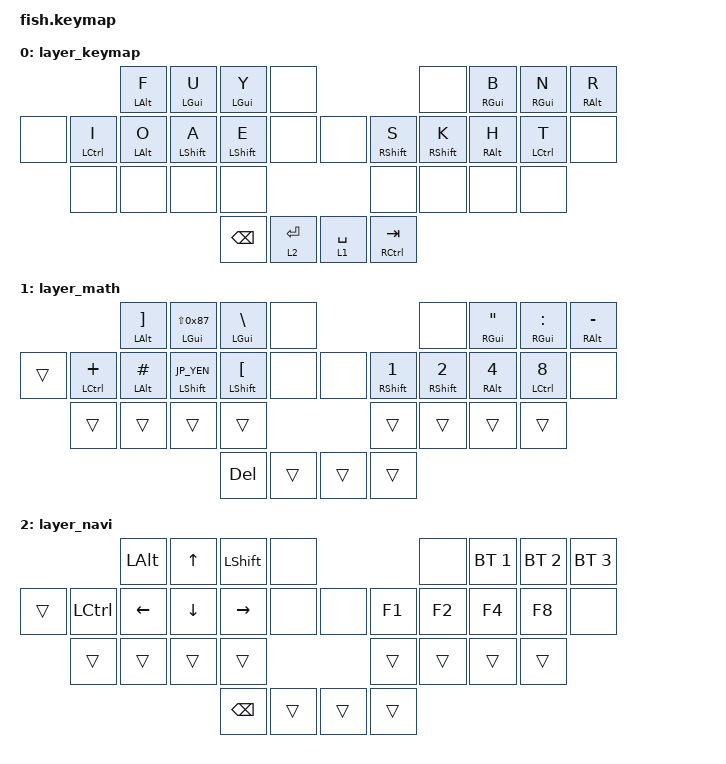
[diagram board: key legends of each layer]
// キーマップを更新する方法は https://o24.works/fish/guide を参照
// 視覚的に編集するには https://o24.works/fish/editor を参照


// 定義を呼んでくる
#include <behaviors.dtsi>
#include <dt-bindings/zmk/keys.h>
#include <dt-bindings/zmk/mouse.h>
#include <dt-bindings/zmk/bt.h>
#include <dt-bindings/zmk/outputs.h>
#include <dt-bindings/zmk/pointing.h>

// US とJISの違いを定義しておく
#define JP_DQUOTE       AT                // "
#define JP_AMPERSAND    CARET             // &
#define JP_QUOTE        AMPERSAND         // '
#define JP_EQUAL        UNDER             // =
#define JP_CARET        EQUAL             // ^
#define JP_YEN          0x89              // ¥
#define JP_PLUS         COLON             // +
#define JP_TILDE        PLUS              // ~
#define JP_PIPE         LS(0x89)          // |
#define JP_AT           LEFT_BRACKET      // @
#define JP_COLON        SINGLE_QUOTE      // :
#define JP_ASTERISK     DOUBLE_QUOTES     // *
#define JP_BACKQUOTE    LEFT_BRACE        // `
#define JP_UNDERSCORE   LS(0x87)          // _
#define JP_LBRACKET     RIGHT_BRACKET     // [
#define JP_RBRACKET     BACKSLASH         // ]
#define JP_LPAREN       ASTERISK          // (
#define JP_RPAREN       LEFT_PARENTHESIS  // )
#define JP_LBRACE       RIGHT_BRACE       // {
#define JP_RBRACE       PIPE              // }
#define JP_KANA         LANGUAGE_1        // かな
#define JP_EISU         LANGUAGE_2        // 英数
#define JP_HANZEN       GRAVE             // 半角/全角
// 特殊入力の挙動を調整できる

&mt {
    flavor = "tap-preferred";
    tapping-term-ms = <225>;
    quick-tap-ms = <200>;
    require-prior-idle-ms = <150>;
};

&lt {
    flavor = "balanced";
    tapping-term-ms = <175>;
    quick-tap-ms = <200>;
};

/ {

    // 複数キーの同時押しに特別の入力を設定できる
    // キー番号早見表：
    //       0  1  2  3     4  5  6  7
    // 8  9 10 11 12 13    14 15 16 17 18 19
    //   20 21 22 23          24 25 26 27
    //            28 29    30 31

    combos {
        compatible = "zmk,combos";
        timeout-ms = <100>;
        require-prior-idle-ms = <150>;

        combo_reset_L {
            key-positions = <3 8 13>;
            bindings = <&bootloader>;
        };

        combo_reset_R {
            key-positions = <4 14 19>;
            bindings = <&bootloader>;
        };

        combo_studio_unlock {
            key-positions = <20 21 22 23>;
            bindings = <&studio_unlock>;
        };

        combo_w {
            key-positions = <15 17>;
            bindings = <&kp W>;
            layers = <0>;
        };

        combo_z {
            key-positions = <15 16>;
            bindings = <&kp Z>;
            layers = <0>;
        };

        combo_g {
            key-positions = <16 17>;
            bindings = <&kp G>;
            layers = <0>;
        };

        combo_d {
            key-positions = <17 18>;
            bindings = <&kp D>;
            layers = <0>;
        };

        combo_lang2 {
            key-positions = <10 11 12>;
            bindings = <&kp LANG2>;
            layers = <0>;
        };

        combo_lang1 {
            key-positions = <15 16 17>;
            bindings = <&kp LANG1>;
            layers = <0>;
        };

        combo_comma {
            key-positions = <15 30>;
            bindings = <&kp COMMA>;
            layers = <0 1>;
        };

        combo_dot {
            key-positions = <16 30>;
            bindings = <&kp DOT>;
            layers = <0 1>;
        };

        combo_x {
            key-positions = <1 2>;
            bindings = <&kp X>;
            layers = <0>;
        };

        combo_q {
            key-positions = <0 2>;
            bindings = <&kp Q>;
            layers = <0>;
        };

        combo_l {
            key-positions = <5 7>;
            bindings = <&kp L>;
            layers = <0>;
        };

        combo_p {
            key-positions = <5 6>;
            bindings = <&kp P>;
            layers = <0>;
        };

        combo_m {
            key-positions = <6 7>;
            bindings = <&kp M>;
            layers = <0>;
        };

        combo_j {
            key-positions = <7 18>;
            bindings = <&kp J>;
            layers = <0>;
        };

        combo_c {
            key-positions = <10 11>;
            bindings = <&kp C>;
            layers = <0>;
        };

        combo_v {
            key-positions = <11 12>;
            bindings = <&kp V>;
            layers = <0>;
        };

        combo_minus {
            key-positions = <15 16 30>;
            bindings = <&kp MINUS>;
            layers = <0>;
        };

        combo_lbkt {
            key-positions = <2 29>;
            bindings = <&kp JP_LBRACKET>;
            layers = <0>;
        };

        combo_rbkt {
            key-positions = <5 30>;
            bindings = <&kp JP_RBRACKET>;
            layers = <0>;
        };

        combo_n3 {
            key-positions = <15 16>;
            bindings = <&kp N3>;
            layers = <1>;
        };

        combo_n5 {
            key-positions = <15 17>;
            bindings = <&kp N5>;
            layers = <1>;
        };

        combo_n6 {
            key-positions = <16 17>;
            bindings = <&kp N6>;
            layers = <1>;
        };

        combo_n7 {
            key-positions = <15 16 17>;
            bindings = <&kp N7>;
            layers = <1>;
        };

        combo_n9 {
            key-positions = <15 18>;
            bindings = <&kp N9>;
            layers = <1>;
        };

        combo_n0 {
            key-positions = <16 18>;
            bindings = <&kp N0>;
            layers = <1>;
        };

        combo_f3 {
            key-positions = <15 16>;
            bindings = <&kp F3>;
            layers = <2>;
        };

        combo_f5 {
            key-positions = <15 17>;
            bindings = <&kp F5>;
            layers = <2>;
        };

        combo_f7 {
            key-positions = <15 16 17>;
            bindings = <&kp F7>;
            layers = <2>;
        };

        combo_f6 {
            key-positions = <16 17>;
            bindings = <&kp F6>;
            layers = <2>;
        };

        combo_f9 {
            key-positions = <15 18>;
            bindings = <&kp F9>;
            layers = <2>;
        };

        combo_f10 {
            key-positions = <16 18>;
            bindings = <&kp F10>;
            layers = <2>;
        };

        combo_f11 {
            key-positions = <15 16 18>;
            bindings = <&kp F11>;
            layers = <2>;
        };

        combo_f12 {
            key-positions = <17 18>;
            bindings = <&kp F12>;
            layers = <2>;
        };

        combo_qmark {
            key-positions = <17 30>;
            bindings = <&kp QMARK>;
            layers = <0>;
        };

        combo_excl {
            key-positions = <18 30>;
            bindings = <&kp EXCL>;
            layers = <0>;
        };

        combo_caret {
            key-positions = <6 15 17>;
            bindings = <&kp JP_CARET>;
            layers = <0>;
        };
        combo_eqal {
            key-positions = <15 16 17 18>;
            bindings = <&kp JP_EQUAL>;
            layers = <1>;
        };
        combo_divide {
            key-positions = <5 7>;
            bindings = <&kp FSLH>;
            layers = <1>;
        };
        combo_underscore {
            key-positions = <15 16 17 30>;
            bindings = <&kp JP_UNDERSCORE>;     
        };
        combo_colon {
            key-positions = <5 15>;
            bindings = <&kp JP_COLON>;     
        };
        combo_semi {
            key-positions = <6 16>;
            bindings = <&kp SEMI>;     
        };
        combo_esc {
            key-positions = <0 9>;
            bindings = <&kp ESC>;
        };
        combo_bt_clr {
            key-positions = <5 6 7>;
            bindings = <&bt BT_CLR>;
            layers = <2>;
        };
};
    

    // キーに入力を割り当てる
    // 型（&...）は https://zmk.dev/docs/behaviors/... を参照
    // キーコードは https://zmk.dev/docs/codes/... を参照

    keymap {
        compatible = "zmk,keymap";

        layer_keymap {
            bindings = <
                            &mt LALT F      &mt LGUI U      &mt LGUI Y        &none               &none         &mt RGUI B       &mt RGUI N       &mt RALT R       
&none     &mt LCTRL I     &mt LALT O      &mt LSHFT A     &mt LSHFT E       &none               &none         &mt RSHFT S      &mt RSHFT K      &mt RALT H       &mt LCTRL T       &none       
            &none           &none           &none           &none                                               &none            &none            &none            &none
                                                            &kp BSPC          &lt 2 RET           &lt 1 SPACE   &mt RCTRL TAB     
            >;
        };

        layer_math {
            bindings = <
                                 &mt LALT JP_LBRACKET     &mt LGUI JP_UNDERSCORE      &mt LGUI JP_RBRACKET     &none       &none       &mt RGUI JP_ASTERISK    &mt RGUI JP_PLUS    &mt RALT MINUS   
&trans      &mt LCTRL JP_TILDE   &mt LALT HASH    &mt LSHFT JP_YEN   &mt LSHFT JP_AT   &none       &none       &mt RSHFT N1      &mt RSHFT N2      &mt RALT N4      &mt LCTRL N8      &none       
            &trans               &trans           &trans             &trans                                    &trans      &trans      &trans      &trans      
                                                                     &kp DEL           &trans      &trans      &trans      
            >;
        };    

        layer_navi {
            bindings = <
                        &kp LALT       &kp UP      &kp LSHFT       &none               &none       &bt BT_SEL 1 &bt BT_SEL 2 &bt BT_SEL 3 
&trans      &kp LCTRL       &kp LEFT    &kp DOWN    &kp RIGHT   &none               &none       &kp F1      &kp F2      &kp F4      &kp F8      &none       
            &trans      &trans      &trans      &trans                                      &trans      &trans      &trans      &trans      
                                                &kp BSPC      &trans            &trans      &trans      
            >;
        };
    };
};
